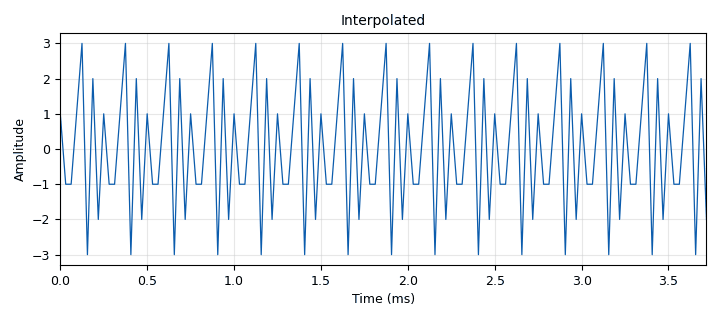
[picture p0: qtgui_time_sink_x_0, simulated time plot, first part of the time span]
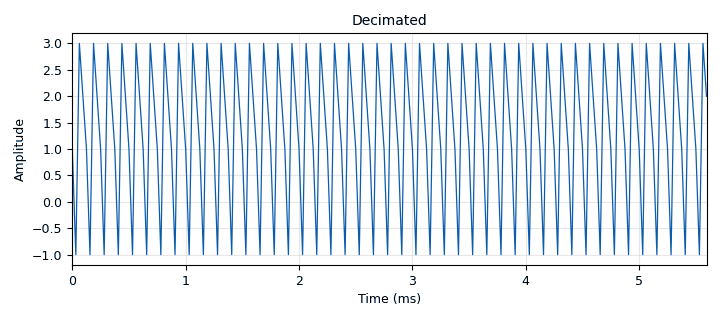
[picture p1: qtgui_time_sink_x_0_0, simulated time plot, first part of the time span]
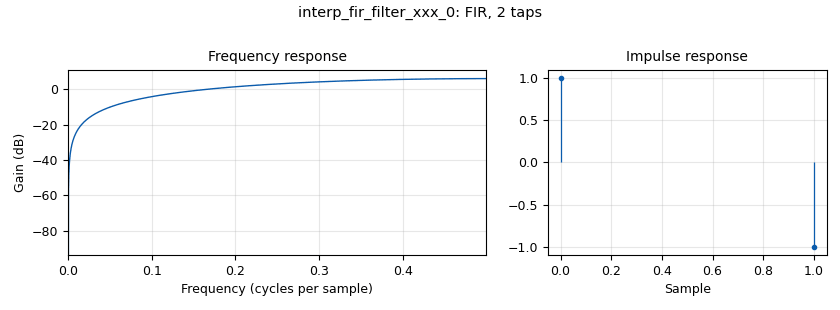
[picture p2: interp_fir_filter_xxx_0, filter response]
options:
  parameters:
    author: p
    generate_options: qt_gui
    id: week3_lecture14
    output_language: python
    title: Not titled yet
  states: {}

blocks:
- name: samp_rate
  id: variable
  parameters:
    value: '32000'
  states: {}
- name: blocks_throttle2_0
  id: blocks_throttle2
  parameters:
    samples_per_second: samp_rate
    type: float
  states: {}
- name: blocks_vector_source_x_0
  id: blocks_vector_source_x
  parameters:
    repeat: 'True'
    type: float
    vector: '[1,-1,3,2]'
  states: {}
- name: fir_filter_xxx_0
  id: fir_filter_xxx
  parameters:
    decim: '2'
    taps: '[1,0]'
    type: fff
  states: {}
- name: interp_fir_filter_xxx_0
  id: interp_fir_filter_xxx
  parameters:
    interp: '2'
    taps: '[1,-1]'
    type: fff
  states: {}
- name: qtgui_time_sink_x_0
  id: qtgui_time_sink_x
  parameters:
    autoscale: 'True'
    grid: 'True'
    name: Interpolated
    size: '1024'
    srate: samp_rate
    type: float
  states: {}
- name: qtgui_time_sink_x_0_0
  id: qtgui_time_sink_x
  parameters:
    autoscale: 'True'
    grid: 'True'
    name: Decimated
    size: '1024'
    srate: samp_rate
    type: float
  states: {}

connections:
- [blocks_throttle2_0, '0', qtgui_time_sink_x_0, '0']
- [blocks_vector_source_x_0, '0', interp_fir_filter_xxx_0, '0']
- [fir_filter_xxx_0, '0', qtgui_time_sink_x_0_0, '0']
- [interp_fir_filter_xxx_0, '0', blocks_throttle2_0, '0']
- [interp_fir_filter_xxx_0, '0', fir_filter_xxx_0, '0']

metadata:
  file_format: 1
  grc_version: 3.10.7.0
